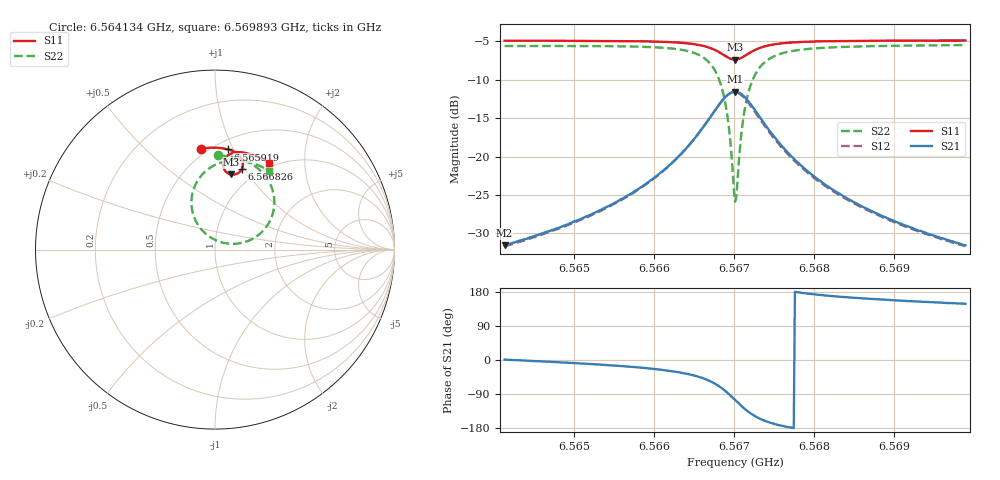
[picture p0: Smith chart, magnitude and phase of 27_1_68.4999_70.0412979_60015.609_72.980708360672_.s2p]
#  HZ  S  RI  R  50.00
! Rohde & Schwarz Vector Network Analyzer
! Rohde-Schwarz,ZNB20-2Port,1311601062101988,3.16
! Created: UTC 3/20/2024, 5:04:55 PM
! freq[Hz]  re:S11  im:S11  re:S21  im:S21  re:S12  im:S12  re:S22  im:S22
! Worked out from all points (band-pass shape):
!   401 points, 6.564134 GHz to 6.569893 GHz, reference 50 ohm
!   highest |S21| = -11.54 dB at 6.567014 GHz (marker M1); lowest = -31.6 dB at 6.564134 GHz (marker M2)
!   |S21| within 3 dB of the highest: 6.566727 GHz to 6.567302 GHz (574.9 kHz wide, 0.00875 % of centre)
!   lowest |S11| = -7.4 dB at 6.567014 GHz (marker M3), VSWR 2.50, Z = 40.6 + j41.6 ohm
!   |S11| at or under -10 dB: nowhere
!   |S22| runs from -25.9 to -5.5 dB; largest |S21 - S12| = 0.012
!   S11 on the Smith chart (normalised r, x): 6.564134 GHz: 0.46, +0.76; 6.565919 GHz: 0.58, +0.95; 6.566826 GHz: 0.84, +0.97; 6.569893 GHz: 0.93, +1.34
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6.5641341e9  -0.0799 0.5632  0.0264 0.00047  0.026 -1.55e-05  0.019 0.5246
6.5650988e9  -0.00184 0.5679  0.039 -0.00642  0.0383 -0.00685  0.1077 0.514
6.5659194e9  0.0725 0.5582  0.0627 -0.0251  0.0616 -0.0258  0.207 0.4747
6.5660634e9  0.087 0.5536  0.0697 -0.0324  0.0686 -0.0332  0.2298 0.4595
6.5663801e9  0.1223 0.5354  0.0897 -0.0628  0.0883 -0.0641  0.2882 0.3993
6.5665961e9  0.1467 0.5086  0.1029 -0.1098  0.1007 -0.1117  0.3261 0.3093
6.5667257e9  0.1555 0.4801  0.0986 -0.1591  0.0948 -0.1618  0.3254 0.2149
6.5668265e9  0.1503 0.4508  0.0724 -0.2098  0.0662 -0.2124  0.2806 0.1197
6.5669128e9  0.1298 0.4267  0.0204 -0.2488  0.0112 -0.2495  0.1862 0.0487
6.5669416e9  0.1193 0.4214  -0.00312 -0.2567  -0.0134 -0.256  0.1432 0.0362
6.5669992e9  0.0948 0.418  -0.0565 -0.2583  -0.0671 -0.2541  0.0488 0.0375
6.5670136e9  0.0885 0.4191  -0.0699 -0.2555  -0.0802 -0.2501  0.0255 0.0439
6.5670424e9  0.0765 0.423  -0.0955 -0.2457  -0.1049 -0.2386  -0.018 0.064
6.5671e9  0.0573 0.438  -0.1369 -0.2139  -0.1436 -0.2042  -0.0858 0.1248
6.5671432e9  0.0487 0.4528  -0.1569 -0.1838  -0.1612 -0.1735  -0.1161 0.1798
6.5672008e9  0.0447 0.4732  -0.1695 -0.1437  -0.171 -0.1339  -0.1311 0.2512
6.5672728e9  0.0486 0.4951  -0.1694 -0.1008  -0.1684 -0.0924  -0.1226 0.3257
6.5675319e9  0.0878 0.5343  -0.127 -0.0217  -0.1242 -0.0183  -0.0262 0.4567
6.5679782e9  0.1464 0.5423  -0.0755 0.0081  -0.0736 0.00922  0.0946 0.4967
6.5684246e9  0.1902 0.5341  -0.0513 0.0134  -0.0502 0.0139  0.1657 0.4924
6.5689429e9  0.2333 0.5193  -0.0363 0.0144  -0.0356 0.0147  0.2238 0.4767
6.5698931e9  0.3021 0.4845  -0.0225 0.0138  -0.022 0.0139  0.3034 0.4377
